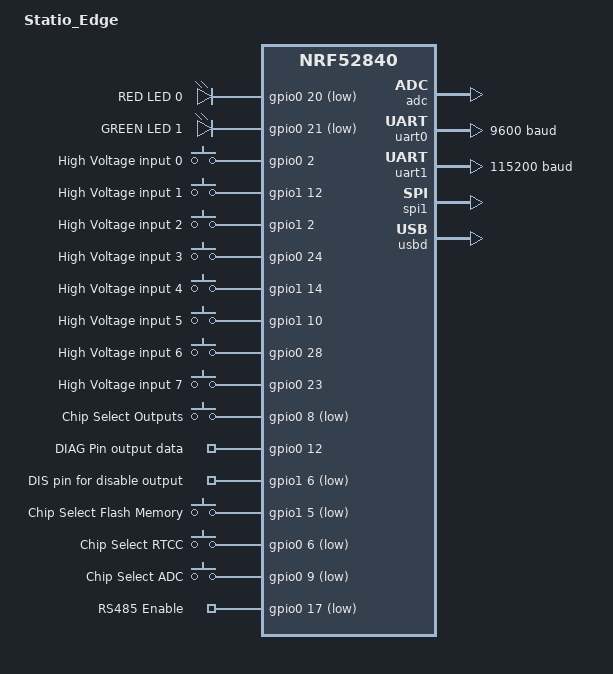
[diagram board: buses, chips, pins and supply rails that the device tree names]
/*
 * Copyright (c) 2017 Linaro Limited
 *
 * SPDX-License-Identifier: Apache-2.0
 */

 /dts-v1/;
 #include <nordic/nrf52840_qiaa.dtsi>
 #include "statio_edge-pinctrl.dtsi"
 
 / {
	 model = "Statio_Edge";
	 compatible = "nordic,nrf52840-dk-nrf52840";
 
	 chosen {
		 zephyr,console = &uart0;
		 zephyr,shell-uart = &uart0;
		 zephyr,uart-mcumgr = &uart0;
		 zephyr,bt-mon-uart = &uart0;
		 zephyr,bt-c2h-uart = &uart0;
		 zephyr,sram = &sram0;
		 zephyr,flash = &flash0;
		 zephyr,code-partition = &slot0_partition;
	 };

	 leds {
		 compatible = "gpio-leds";
		 led0: led_0 {
			 gpios = <&gpio0 20 GPIO_ACTIVE_LOW>;
			 label = "RED LED 0";
		 };
		 led1: led_1 {
			 gpios = <&gpio0 21 GPIO_ACTIVE_LOW>;
			 label = "GREEN LED 1";
		 };
	 };

	plcinputs {
		compatible = "gpio-keys";
		input0: input_0 {
			gpios = <&gpio0 2 (GPIO_PULL_DOWN)>;
			label = "High Voltage input 0";
		};
		input1: input_1 {
			gpios = <&gpio1 12 (GPIO_PULL_DOWN)>;
			label = "High Voltage input 1";
		};
		input2: input_2 {
			gpios = <&gpio1 2 (GPIO_PULL_DOWN)>;
			label = "High Voltage input 2";
		};
		input3: input_3 {
			gpios = <&gpio0 24 (GPIO_PULL_DOWN)>;
			label = "High Voltage input 3";
		};
		input4: input_4 {
			gpios = <&gpio1 14 (GPIO_PULL_DOWN)>;
			label = "High Voltage input 4";
		};
		input5: input_5 {
			gpios = <&gpio1 10 (GPIO_PULL_DOWN)>;
			label = "High Voltage input 5";
		};
		input6: input_6 {
			gpios = <&gpio0 28 (GPIO_PULL_DOWN)>;
			label = "High Voltage input 6";
		};
		input7: input_7 {
			gpios = <&gpio0 23 (GPIO_PULL_DOWN)>;
			label = "High Voltage input 7";
		};
	 };

	plcoutputchip {
		compatible = "gpio-keys";
		csoutputchip: cs_outputchip {
			gpios = <&gpio0 8 (GPIO_ACTIVE_LOW)>; //Verificar, choca con UART0
			label = "Chip Select Outputs";
		};
		diag: diag_pin {
			gpios = <&gpio0 12 (GPIO_PULL_UP)>; //Need to check Pull up or down
			label = "DIAG Pin output data";
		};
		dis: dis_pin {
			gpios = <&gpio1 6 (GPIO_ACTIVE_LOW)>; //Verificar, choca con UART0
			label = "DIS pin for disable output";
		};
	};

	spi_chipselect {
		compatible = "gpio-keys";
		csflashmemory: cs_flashmemory {
			gpios = <&gpio1 5 (GPIO_ACTIVE_LOW)>;
			label = "Chip Select Flash Memory";
		};
		csrtcc: cs_rtcc {
			gpios = <&gpio0 6 (GPIO_ACTIVE_LOW)>; //Verificar, choca con UART0
			label = "Chip Select RTCC";
		};
		csadc: CS_ADC {
			gpios = <&gpio0 9 (GPIO_ACTIVE_LOW)>;
			label = "Chip Select ADC";
		};
		rs485enable: rs485_enable {
			gpios = <&gpio0 17 (GPIO_ACTIVE_LOW)>;
			label = "RS485 Enable";
		};
	};

	//  buttons {
	// 	 compatible = "gpio-keys";
	// 	 button0: button_0 {
			//  gpios = <&gpio0 11 (GPIO_PULL_UP | GPIO_ACTIVE_LOW)>;
	// 		 label = "Push button switch 0";
	// 	 };
	// 	 button1: button_1 {
	// 		 gpios = <&gpio0 12 (GPIO_PULL_UP | GPIO_ACTIVE_LOW)>;
	// 		 label = "Push button switch 1";
	// 	 };
	// 	 button2: button_2 {
	// 		 gpios = <&gpio0 24 (GPIO_PULL_UP | GPIO_ACTIVE_LOW)>;
	// 		 label = "Push button switch 2";
	// 	 };
	// 	 button3: button_3 {
	// 		 gpios = <&gpio0 25 (GPIO_PULL_UP | GPIO_ACTIVE_LOW)>;
	// 		 label = "Push button switch 3";
	// 	 };
	//  };
 
	 /* These aliases are provided for compatibility with samples */
	 aliases {
		 led0 = &led0;
		 led1 = &led1;
		 csadc = &csadc;
		 rs485enable = &rs485enable;


		//  pwm-led0 = &pwm_led0;
		//  sw0 = &button0;
		//  sw1 = &button1;
		//  sw2 = &button2;
		//  sw3 = &button3;
		//  bootloader-led0 = &led0;
	 };
 };
 
 &adc {
	 status = "okay";
 };
 
 &gpiote {
	 status = "okay";
 };
 
 &gpio0 {
	 status = "okay";
 };
 
 &gpio1 {
	 status = "okay";
 };
 
 rs485: &uart0 {
	 compatible = "nordic,nrf-uarte";
	 status = "okay";
	 current-speed = <9600>;
	 pinctrl-0 = <&uart0_default>;
	 pinctrl-1 = <&uart0_sleep>;
	 pinctrl-names = "default", "sleep";
 };
 
 rs232: &uart1 {
	 status = "okay";
	 current-speed = <115200>;
	 pinctrl-0 = <&uart1_default>;
	 pinctrl-1 = <&uart1_sleep>;
	 pinctrl-names = "default", "sleep";
 };
 
//  arduino_i2c: &i2c0 {
// 	 compatible = "nordic,nrf-twi";
// 	 status = "okay";
// 	 pinctrl-0 = <&i2c0_default>;
// 	 pinctrl-1 = <&i2c0_sleep>;
// 	 pinctrl-names = "default", "sleep";
//  };
 
//  &i2c1 {
// 	 compatible = "nordic,nrf-twi";
// 	 /* Cannot be used together with spi1. */
// 	 /* status = "okay"; */
// 	 pinctrl-0 = <&i2c1_default>;
// 	 pinctrl-1 = <&i2c1_sleep>;
// 	 pinctrl-names = "default", "sleep";
//  };
 
//  &pwm0 {
// 	 status = "okay";
// 	 pinctrl-0 = <&pwm0_default>;
// 	 pinctrl-1 = <&pwm0_sleep>;
// 	 pinctrl-names = "default", "sleep";
//  };
 
//  &spi0 {
// 	 compatible = "nordic,nrf-spi";
// 	 /* Cannot be used together with i2c0. */
// 	 /* status = "okay"; */
// 	 pinctrl-0 = <&spi0_default>;
// 	 pinctrl-1 = <&spi0_sleep>;
// 	 pinctrl-names = "default", "sleep";
//  };
 
 &spi1 {
	compatible = "nordic,nrf-spi";
	status = "okay";
	pinctrl-0 = <&spi1_default>;
	pinctrl-1 = <&spi1_sleep>;
	pinctrl-names = "default", "sleep";
 };

 
//  &spi2 {
// 	 compatible = "nordic,nrf-spi";
// 	 status = "disabled";
// 	 pinctrl-0 = <&spi2_default>;
// 	 pinctrl-1 = <&spi2_sleep>;
// 	 pinctrl-names = "default", "sleep";
//  };
 
//  &qspi {
// 	 status = "okay";
// 	 pinctrl-0 = <&qspi_default>;
// 	 pinctrl-1 = <&qspi_sleep>;
// 	 pinctrl-names = "default", "sleep";
// 	 mx25r64: mx25r6435f@0 {
// 		 compatible = "nordic,qspi-nor";
// 		 reg = <0>;
// 		 /* MX25R64 supports only pp and pp4io */
// 		 writeoc = "pp4io";
// 		 /* MX25R64 supports all readoc options */
// 		 readoc = "read4io";
// 		 sck-frequency = <8000000>;
// 		 label = "MX25R64";
// 		 jedec-id = [c2 28 17];
// 		 sfdp-bfp = [
// 			 e5 20 f1 ff  ff ff ff 03  44 eb 08 6b  08 3b 04 bb
// 			 ee ff ff ff  ff ff 00 ff  ff ff 00 ff  0c 20 0f 52
// 			 10 d8 00 ff  23 72 f5 00  82 ed 04 cc  44 83 68 44
// 			 30 b0 30 b0  f7 c4 d5 5c  00 be 29 ff  f0 d0 ff ff
// 		 ];
// 		 size = <67108864>;
// 		 has-dpd;
// 		 t-enter-dpd = <10000>;
// 		 t-exit-dpd = <35000>;
// 	 };
//  };
 
//  arduino_spi: &spi3 {
// 	 status = "okay";
// 	 cs-gpios = <&arduino_header 16 GPIO_ACTIVE_LOW>; /* D10 */
// 	 pinctrl-0 = <&spi3_default>;
// 	 pinctrl-1 = <&spi3_sleep>;
// 	 pinctrl-names = "default", "sleep";
//  };
 
 &flash0 {
 
	 partitions {
		 compatible = "fixed-partitions";
		 #address-cells = <1>;
		 #size-cells = <1>;
 
		 boot_partition: partition@0 {
			 label = "mcuboot";
			 reg = <0x000000000 0x0000C000>;
		 };
		 slot0_partition: partition@c000 {
			 label = "image-0";
			 reg = <0x0000C000 0x00067000>;
		 };
		 slot1_partition: partition@73000 {
			 label = "image-1";
			 reg = <0x00073000 0x00067000>;
		 };
		 scratch_partition: partition@da000 {
			 label = "image-scratch";
			 reg = <0x000da000 0x0001e000>;
		 };
 
		 /*
		  * The flash starting at 0x000f8000 and ending at
		  * 0x000fffff is reserved for use by the application.
		  */
 
		 /*
		  * Storage partition will be used by FCB/LittleFS/NVS
		  * if enabled.
		  */
		 storage_partition: partition@f8000 {
			 label = "storage";
			 reg = <0x000f8000 0x00008000>;
		 };
	 };
 };
 
 zephyr_udc0: &usbd {
	 compatible = "nordic,nrf-usbd";
	 status = "okay";
 };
